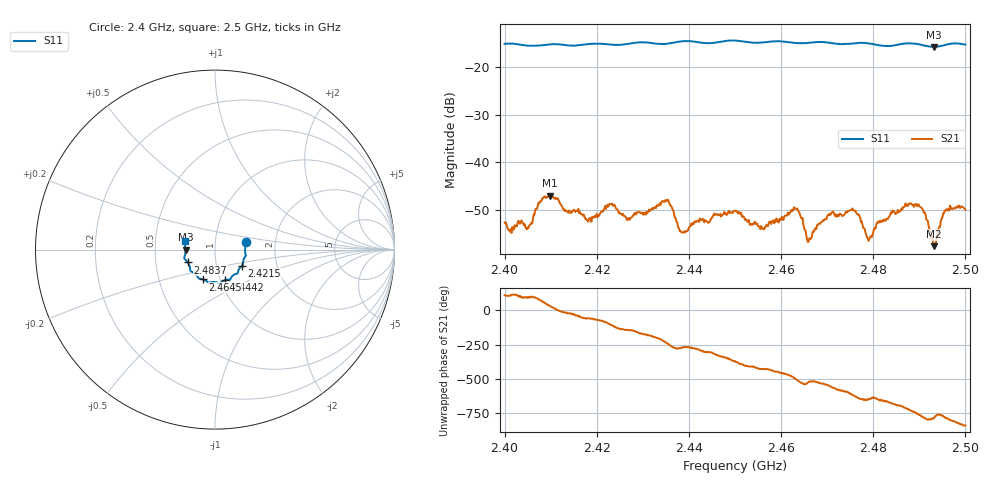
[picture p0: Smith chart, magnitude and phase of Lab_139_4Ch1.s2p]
# Hz S RI R 50
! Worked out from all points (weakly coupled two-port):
!   601 points, 2.4 GHz to 2.5 GHz, reference 50 ohm
!   highest |S21| = -47.05 dB at 2.4098 GHz (marker M1); lowest = -57.7 dB at 2.4932 GHz (marker M2)
!   lowest |S11| = -15.7 dB at 2.4932 GHz (marker M3), VSWR 1.39, Z = 35.9 - j0.054 ohm
!   |S11| at or under -10 dB: start of sweep to end of sweep
!   S12 and S22 are empty: the file has one direction only
!   S11 on the Smith chart (normalised r, x): 2.4 GHz: 1.41, +0.12; 2.4215 GHz: 1.33, -0.25; 2.4442 GHz: 1.05, -0.37; 2.4645 GHz: 0.83, -0.29; 2.4837 GHz: 0.73, -0.11; 2.5 GHz: 0.71, +0.07
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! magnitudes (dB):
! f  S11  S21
! 2.4 GHz  -15.1  -52.7
! 2.4052 GHz  -15.5  -53.9
! 2.4098 GHz  -15.2  -47.0
! 2.4167 GHz  -15.3  -50.9
! 2.4215 GHz  -15.1  -50.0
! 2.4333 GHz  -15.1  -49.2
! 2.4357 GHz  -15.0  -48.5
! 2.4385 GHz  -14.6  -54.8
! 2.4442 GHz  -15.0  -52.8
! 2.45 GHz  -14.4  -50.2
! 2.4558 GHz  -14.8  -53.9
! 2.4645 GHz  -15.0  -51.9
! 2.4667 GHz  -14.8  -55.8
! 2.471 GHz  -14.9  -50.6
! 2.4758 GHz  -15.0  -50.2
! 2.4792 GHz  -15.0  -56.1
! 2.4833 GHz  -15.6  -51.6
! 2.4837 GHz  -15.5  -51.1
! 2.4902 GHz  -15.2  -49.4
! 2.4932 GHz  -15.7  -57.7
! 2.4957 GHz  -15.3  -50.2
! 2.5 GHz  -15.3  -50.0
